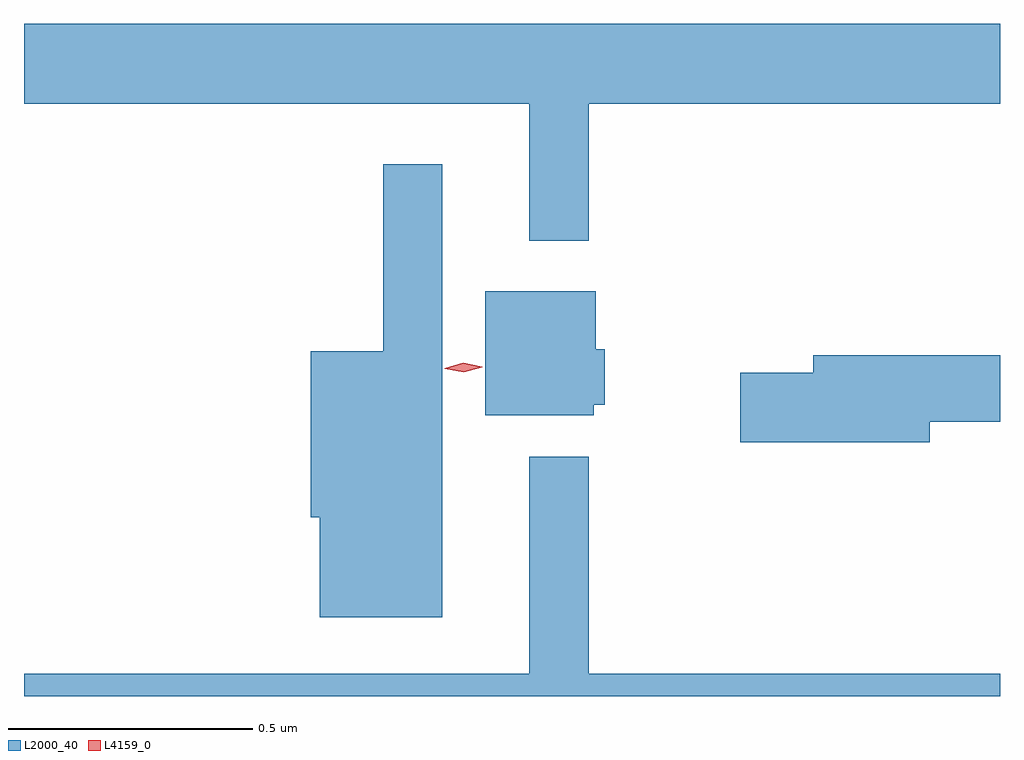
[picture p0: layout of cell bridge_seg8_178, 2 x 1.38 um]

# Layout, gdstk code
import gdstk
lib = gdstk.Library(unit=1e-6, precision=1e-09)
def P(c, l, *ps):  # polygons
    for p in ps: c.add(gdstk.Polygon(p, *l))
L2000_40 = (2000, 40)
L4159_0 = (4159, 0)

bridge_seg8_178 = lib.new_cell('bridge_seg8_178')
P(bridge_seg8_178, L2000_40, [(433.201,1109.84),(434.044,1109.84),(434.044,1110.004),(432.044,1110.004),(432.044,1109.84),(433.079,1109.84),(433.079,1109.559),(433.201,1109.559)],
  [(432.901,1109.716),(432.78,1109.716),(432.78,1109.332),(432.632,1109.332),(432.632,1108.992),(432.65,1108.992),(432.65,1108.787),(432.901,1108.787)],
  [(433.212,1109.223),(433.234,1109.223),(433.234,1109.337),(433.216,1109.337),(433.216,1109.455),(432.989,1109.455),(432.989,1109.201),(433.212,1109.201)],
  [(433.9,1109.188),(434.044,1109.188),(434.044,1109.324),(433.661,1109.324),(433.661,1109.288),(433.512,1109.288),(433.512,1109.146),(433.9,1109.146)],
  [(434.044,1108.672),(433.201,1108.672),(433.201,1109.116),(433.079,1109.116),(433.079,1108.672),(432.044,1108.672),(432.044,1108.625),(434.044,1108.625)])
P(bridge_seg8_178, L4159_0, [(432.945,1109.289),(432.906,1109.297),(432.906,1109.298),(432.906,1109.298),(432.944,1109.309),(432.983,1109.301),(432.983,1109.301),(432.983,1109.3)])

lib.write_gds('bridge_seg8_178.gds')
